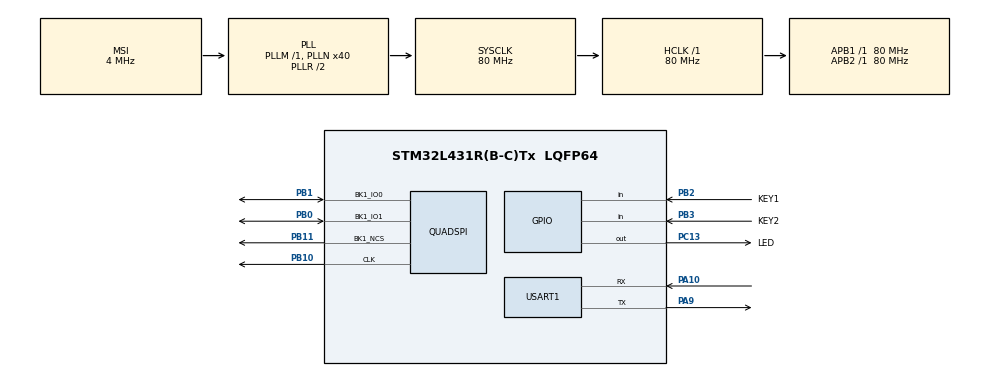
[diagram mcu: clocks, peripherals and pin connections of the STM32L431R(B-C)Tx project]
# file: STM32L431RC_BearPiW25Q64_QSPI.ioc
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Mcu.Family=STM32L4
Mcu.Name=STM32L431R(B-C)Tx
Mcu.Package=LQFP64
NVIC.PriorityGroup=NVIC_PRIORITYGROUP_4
PA10.Mode=Asynchronous
PA10.Signal=USART1_RX
PA9.Mode=Asynchronous
PA9.Signal=USART1_TX
PB0.Mode=Single Bank 1 2IOs
PB0.Signal=QUADSPI_BK1_IO1
PB1.Mode=Single Bank 1 2IOs
PB1.Signal=QUADSPI_BK1_IO0
PB10.Mode=Single Bank 1 2IOs
PB10.Signal=QUADSPI_CLK
PB11.Mode=Single Bank 1 2IOs
PB11.Signal=QUADSPI_BK1_NCS
PB2.GPIO_Label=KEY1
PB2.GPIO_PuPd=GPIO_PULLUP
PB2.Signal=GPIO_Input
PB3\ (JTDO-TRACESWO).GPIO_Label=KEY2
PB3\ (JTDO-TRACESWO).GPIO_PuPd=GPIO_PULLUP
PB3\ (JTDO-TRACESWO).Signal=GPIO_Input
PC13.GPIO_Label=LED
PC13.Signal=GPIO_Output
ProjectManager.HeapSize=0x200
ProjectManager.StackSize=0x400
ProjectManager.TargetToolchain=MDK-ARM V5
QUADSPI.ChipSelectHighTime=QSPI_CS_HIGH_TIME_4_CYCLE
QUADSPI.ClockPrescaler=0
QUADSPI.FifoThreshold=4
QUADSPI.FlashSize=25
QUADSPI.SampleShifting=QSPI_SAMPLE_SHIFTING_HALFCYCLE
RCC.AHBFreq_Value=80000000
RCC.APB1Freq_Value=80000000
RCC.APB1TimFreq_Value=80000000
RCC.APB2Freq_Value=80000000
RCC.APB2TimFreq_Value=80000000
RCC.CortexFreq_Value=80000000
RCC.HCLKFreq_Value=80000000
RCC.HSE_VALUE=8000000
RCC.HSI48_VALUE=48000000
RCC.HSI_VALUE=16000000
RCC.LSE_VALUE=32768
RCC.MSI_VALUE=4000000
RCC.PLLN=40
RCC.SYSCLKFreq_VALUE=80000000
RCC.SYSCLKSource=RCC_SYSCLKSOURCE_PLLCLK
RCC.VCOOutputFreq_Value=160000000
USART1.VirtualMode-Asynchronous=VM_ASYNC
board=custom

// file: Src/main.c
/**
  ******************************************************************************
  * @file           : main.c
  * @brief          : Main program body
  ******************************************************************************
  ** This notice applies to any and all portions of this file
  * that are not between comment pairs USER CODE BEGIN and
  * USER CODE END. Other portions of this file, whether
  * inserted by the user or by software development tools
  * are owned by their respective copyright owners.
  *
  * COPYRIGHT(c) 2019 STMicroelectronics
  *
  * Redistribution and use in source and binary forms, with or without modification,
  * are permitted provided that the following conditions are met:
  *   1. Redistributions of source code must retain the above copyright notice,
  *      this list of conditions and the following disclaimer.
  *   2. Redistributions in binary form must reproduce the above copyright notice,
  *      this list of conditions and the following disclaimer in the documentation
  *      and/or other materials provided with the distribution.
  *   3. Neither the name of STMicroelectronics nor the names of its contributors
  *      may be used to endorse or promote products derived from this software
  *      without specific prior written permission.
  *
  * THIS SOFTWARE IS PROVIDED BY THE COPYRIGHT HOLDERS AND CONTRIBUTORS "AS IS"
  * AND ANY EXPRESS OR IMPLIED WARRANTIES, INCLUDING, BUT NOT LIMITED TO, THE
  * IMPLIED WARRANTIES OF MERCHANTABILITY AND FITNESS FOR A PARTICULAR PURPOSE ARE
  * DISCLAIMED. IN NO EVENT SHALL THE COPYRIGHT HOLDER OR CONTRIBUTORS BE LIABLE
  * FOR ANY DIRECT, INDIRECT, INCIDENTAL, SPECIAL, EXEMPLARY, OR CONSEQUENTIAL
  * DAMAGES (INCLUDING, BUT NOT LIMITED TO, PROCUREMENT OF SUBSTITUTE GOODS OR
  * SERVICES; LOSS OF USE, DATA, OR PROFITS; OR BUSINESS INTERRUPTION) HOWEVER
  * CAUSED AND ON ANY THEORY OF LIABILITY, WHETHER IN CONTRACT, STRICT LIABILITY,
  * OR TORT (INCLUDING NEGLIGENCE OR OTHERWISE) ARISING IN ANY WAY OUT OF THE USE
  * OF THIS SOFTWARE, EVEN IF ADVISED OF THE POSSIBILITY OF SUCH DAMAGE.
  *
  ******************************************************************************
  */
#include "main.h"
#include "stm32l4xx_hal.h"
#include "quadspi.h"
#include "usart.h"
#include "gpio.h"

/* USER CODE BEGIN Includes */
#include "stdio.h"
#include "hal_qspi_flash.h"
/* USER CODE END Includes */

/* USER CODE BEGIN PV */
/* Private variables ---------------------------------------------------------*/

/* USER CODE END PV */

void SystemClock_Config(void);

/* USER CODE BEGIN PFP */
/* Private function prototypes -----------------------------------------------*/

/* USER CODE END PFP */

int main(void)
{
  /* USER CODE BEGIN 1 */
uint32_t location1=0;
uint32_t location2=4096;
uint32_t W25xID;
uint16_t ReadData[]={0};
uint16_t ReadData_1[]={0};
uint8_t writeData[]={"welcome to IoT"};
uint8_t writeData_1[]={"第一个QuadSPI实验"};

  /* USER CODE END 1 */

  /* MCU Configuration----------------------------------------------------------*/

  /* Reset of all peripherals, Initializes the Flash interface and the Systick. */
  HAL_Init();

  /* Configure the system clock */
  SystemClock_Config();

  /* Initialize all configured peripherals */
  MX_GPIO_Init();
  MX_QUADSPI_Init();
  MX_USART1_UART_Init();
  /* USER CODE BEGIN 2 */
	hal_spi_flash_read(ReadData,sizeof(writeData),0);//读0位的数据
	printf("ReadFlashData:%s\r\n",(char*)ReadData);//打印读出的数据
	hal_spi_flash_read(ReadData_1,sizeof(writeData_1),4096);;//读100位的数据
	printf("ReadFlashData_1:%s\r\n",(char*)ReadData_1);//打印读出的数据
	W25xID=hal_spi_flash_get_id();//读取芯片ID
  /* USER CODE END 2 */

  /* Infinite loop */
  while (1)
  {

  /* USER CODE BEGIN 3 */
  if(HAL_GPIO_ReadPin(KEY1_GPIO_Port,KEY1_Pin)==GPIO_PIN_RESET)
		{
		HAL_Delay(100);
			if(HAL_GPIO_ReadPin(KEY1_GPIO_Port,KEY1_Pin)==GPIO_PIN_RESET)
			{
				printf("KEY1 Press \r\n");
				printf("W25xID:%x\r\n",W25xID);
				/*最小擦除为4096，所以一次就要擦除0-4096位置，然后在0-4096的任意位置写入数据*/
				hal_spi_flash_erase_write(writeData, sizeof(writeData),0);
			}
		}
	if(HAL_GPIO_ReadPin(KEY2_GPIO_Port,KEY2_Pin)==GPIO_PIN_RESET)
			{
			HAL_Delay(100);
			if(HAL_GPIO_ReadPin(KEY2_GPIO_Port,KEY2_Pin)==GPIO_PIN_RESET)
				{
				printf("KEY2 Press \r\n");
				printf("W25xID:%x\r\n",W25xID);
				/*最小擦除为4096，所以一次就要擦除0-4096位置，然后在0-4096的任意位置写入数据*/
				hal_spi_flash_erase_write(writeData_1, sizeof(writeData_1),location2);
				}
			}

  }
  /* USER CODE END 3 */

}

void SystemClock_Config(void)
{

  RCC_OscInitTypeDef RCC_OscInitStruct;
  RCC_ClkInitTypeDef RCC_ClkInitStruct;
  RCC_PeriphCLKInitTypeDef PeriphClkInit;

    /**Initializes the CPU, AHB and APB busses clocks
    */
  RCC_OscInitStruct.OscillatorType = RCC_OSCILLATORTYPE_MSI;
  RCC_OscInitStruct.MSIState = RCC_MSI_ON;
  RCC_OscInitStruct.MSICalibrationValue = 0;
  RCC_OscInitStruct.MSIClockRange = RCC_MSIRANGE_6;
  RCC_OscInitStruct.PLL.PLLState = RCC_PLL_ON;
  RCC_OscInitStruct.PLL.PLLSource = RCC_PLLSOURCE_MSI;
  RCC_OscInitStruct.PLL.PLLM = 1;
  RCC_OscInitStruct.PLL.PLLN = 40;
  RCC_OscInitStruct.PLL.PLLP = RCC_PLLP_DIV7;
  RCC_OscInitStruct.PLL.PLLQ = RCC_PLLQ_DIV2;
  RCC_OscInitStruct.PLL.PLLR = RCC_PLLR_DIV2;
  if (HAL_RCC_OscConfig(&RCC_OscInitStruct) != HAL_OK)
  {
    _Error_Handler(__FILE__, __LINE__);
  }

    /**Initializes the CPU, AHB and APB busses clocks
    */
  RCC_ClkInitStruct.ClockType = RCC_CLOCKTYPE_HCLK|RCC_CLOCKTYPE_SYSCLK
                              |RCC_CLOCKTYPE_PCLK1|RCC_CLOCKTYPE_PCLK2;
  RCC_ClkInitStruct.SYSCLKSource = RCC_SYSCLKSOURCE_PLLCLK;
  RCC_ClkInitStruct.AHBCLKDivider = RCC_SYSCLK_DIV1;
  RCC_ClkInitStruct.APB1CLKDivider = RCC_HCLK_DIV1;
  RCC_ClkInitStruct.APB2CLKDivider = RCC_HCLK_DIV1;

  if (HAL_RCC_ClockConfig(&RCC_ClkInitStruct, FLASH_LATENCY_4) != HAL_OK)
  {
    _Error_Handler(__FILE__, __LINE__);
  }

  PeriphClkInit.PeriphClockSelection = RCC_PERIPHCLK_USART1;
  PeriphClkInit.Usart1ClockSelection = RCC_USART1CLKSOURCE_PCLK2;
  if (HAL_RCCEx_PeriphCLKConfig(&PeriphClkInit) != HAL_OK)
  {
    _Error_Handler(__FILE__, __LINE__);
  }

    /**Configure the main internal regulator output voltage
    */
  if (HAL_PWREx_ControlVoltageScaling(PWR_REGULATOR_VOLTAGE_SCALE1) != HAL_OK)
  {
    _Error_Handler(__FILE__, __LINE__);
  }

    /**Configure the Systick interrupt time
    */
  HAL_SYSTICK_Config(HAL_RCC_GetHCLKFreq()/1000);

    /**Configure the Systick
    */
  HAL_SYSTICK_CLKSourceConfig(SYSTICK_CLKSOURCE_HCLK);

  /* SysTick_IRQn interrupt configuration */
  HAL_NVIC_SetPriority(SysTick_IRQn, 0, 0);
}

void _Error_Handler(char *file, int line)
{
  while(1)
  {
  }
}

/************************ (C) COPYRIGHT STMicroelectronics *****END OF FILE****/
